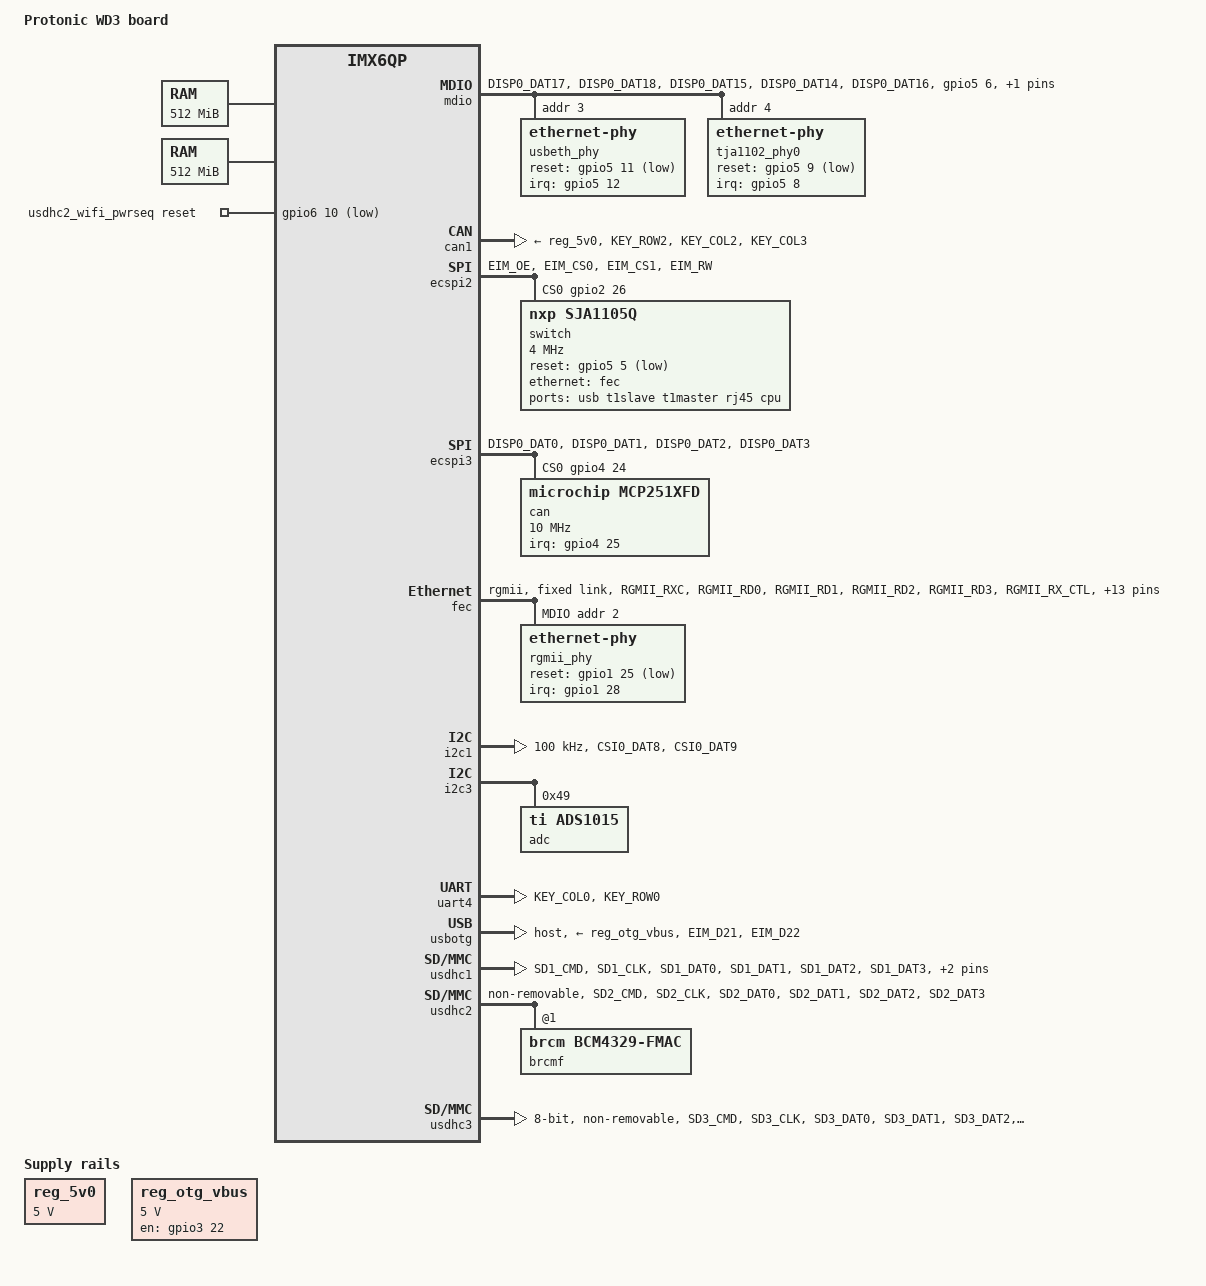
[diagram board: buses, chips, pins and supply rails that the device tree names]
// SPDX-License-Identifier: GPL-2.0-or-later OR MIT
/*
 * Copyright (c) 2018 Protonic Holland
 * Copyright (c) 2020 Oleksij Rempel <kernel@pengutronix.de>, Pengutronix
 */

/dts-v1/;
#include <dt-bindings/gpio/gpio.h>
#include "imx6qp.dtsi"

/ {
	model = "Protonic WD3 board";
	compatible = "prt,prtwd3", "fsl,imx6qp";

	chosen {
		stdout-path = &uart4;
	};

	memory@10000000 {
		device_type = "memory";
		reg = <0x10000000 0x20000000>;
	};

	memory@80000000 {
		device_type = "memory";
		reg = <0x80000000 0x20000000>;
	};

	clock_ksz8081: clock-ksz8081 {
		compatible = "fixed-clock";
		#clock-cells = <0>;
		clock-frequency = <50000000>;
	};

	clock_ksz9031: clock-ksz9031 {
		compatible = "fixed-clock";
		#clock-cells = <0>;
		clock-frequency = <25000000>;
	};

	clock_mcp251xfd: clock-mcp251xfd {
		compatible = "fixed-clock";
		#clock-cells = <0>;
		clock-frequency = <20000000>;
	};

	clock_sja1105: clock-sja1105 {
		compatible = "fixed-clock";
		#clock-cells = <0>;
		clock-frequency = <25000000>;
	};

	mdio {
		compatible = "virtual,mdio-gpio";
		pinctrl-names = "default";
		pinctrl-0 = <&pinctrl_mdio>;

		#address-cells = <1>;
		#size-cells = <0>;
		gpios = <&gpio5 6 GPIO_ACTIVE_HIGH
			 &gpio5 7 GPIO_ACTIVE_HIGH>;

		/* Microchip KSZ8081 */
		usbeth_phy: ethernet-phy@3 {
			reg = <0x3>;

			interrupts-extended = <&gpio5 12 IRQ_TYPE_LEVEL_LOW>;
			reset-gpios = <&gpio5 11 GPIO_ACTIVE_LOW>;
			reset-assert-us = <500>;
			reset-deassert-us = <1000>;
			clocks = <&clock_ksz8081>;
			clock-names = "rmii-ref";
			micrel,led-mode = <0>;
		};

		tja1102_phy0: ethernet-phy@4 {
			reg = <0x4>;

			interrupts-extended = <&gpio5 8 IRQ_TYPE_LEVEL_LOW>;
			reset-gpios = <&gpio5 9 GPIO_ACTIVE_LOW>;
			reset-assert-us = <20>;
			reset-deassert-us = <2000>;
			#address-cells = <1>;
			#size-cells = <0>;

			tja1102_phy1: ethernet-phy@5 {
				reg = <0x5>;

				interrupts-extended = <&gpio5 8 IRQ_TYPE_LEVEL_LOW>;
			};
		};
	};

	reg_5v0: regulator-5v0 {
		compatible = "regulator-fixed";
		regulator-name = "5v0";
		regulator-min-microvolt = <5000000>;
		regulator-max-microvolt = <5000000>;
	};

	reg_otg_vbus: regulator-otg-vbus {
		compatible = "regulator-fixed";
		regulator-name = "otg-vbus";
		regulator-min-microvolt = <5000000>;
		regulator-max-microvolt = <5000000>;
		gpio = <&gpio3 22 GPIO_ACTIVE_HIGH>;
		enable-active-high;
	};

	usdhc2_wifi_pwrseq: usdhc2-wifi-pwrseq {
		compatible = "mmc-pwrseq-simple";
		pinctrl-names = "default";
		pinctrl-0 = <&pinctrl_wifi_npd>;
		reset-gpios = <&gpio6 10 GPIO_ACTIVE_LOW>;
	};
};

&can1 {
	pinctrl-names = "default";
	pinctrl-0 = <&pinctrl_can1>;
	xceiver-supply = <&reg_5v0>;
	status = "okay";
};

&ecspi2 {
	cs-gpios = <&gpio2 26 GPIO_ACTIVE_HIGH>;
	pinctrl-names = "default";
	pinctrl-0 = <&pinctrl_ecspi2>;
	status = "okay";

	switch@0 {
		compatible = "nxp,sja1105q";
		reg = <0>;
		spi-max-frequency = <4000000>;
		spi-rx-delay-us = <1>;
		spi-tx-delay-us = <1>;
		spi-cpha;

		reset-gpios = <&gpio5 5 GPIO_ACTIVE_LOW>;

		clocks = <&clock_sja1105>;

		ports {
			#address-cells = <1>;
			#size-cells = <0>;

			port@0 {
				reg = <0>;
				label = "usb";
				phy-handle = <&usbeth_phy>;
				phy-mode = "rmii";
			};

			port@1 {
				reg = <1>;
				label = "t1slave";
				phy-handle = <&tja1102_phy1>;
				phy-mode = "rmii";
			};

			port@2 {
				reg = <2>;
				label = "t1master";
				phy-handle = <&tja1102_phy0>;
				phy-mode = "rmii";

			};

			port@3 {
				reg = <3>;
				label = "rj45";
				phy-handle = <&rgmii_phy>;
				phy-mode = "rgmii-id";
			};

			port@4 {
				reg = <4>;
				label = "cpu";
				ethernet = <&fec>;
				phy-mode = "rgmii-id";

				fixed-link {
					speed = <100>;
					full-duplex;
				};
			};
		};
	};
};

&ecspi3 {
	cs-gpios = <&gpio4 24 GPIO_ACTIVE_HIGH>;
	pinctrl-names = "default";
	pinctrl-0 = <&pinctrl_ecspi3>;
	status = "okay";

	can@0 {
		compatible = "microchip,mcp251xfd";
		pinctrl-names = "default";
		pinctrl-0 = <&pinctrl_can2>;
		reg = <0>;
		clocks = <&clock_mcp251xfd>;
		spi-max-frequency = <10000000>;
		interrupts-extended = <&gpio4 25 IRQ_TYPE_LEVEL_LOW>;
	};
};

&fec {
	pinctrl-names = "default";
	pinctrl-0 = <&pinctrl_enet>;
	status = "okay";

	phy-mode = "rgmii";

	fixed-link {
		speed = <100>;
		full-duplex;
	};

	mdio {
		#address-cells = <1>;
		#size-cells = <0>;

		/* Microchip KSZ9031 */
		rgmii_phy: ethernet-phy@2 {
			reg = <2>;

			interrupts-extended = <&gpio1 28 IRQ_TYPE_EDGE_FALLING>;
			reset-gpios = <&gpio1 25 GPIO_ACTIVE_LOW>;
			reset-assert-us = <10000>;
			reset-deassert-us = <1000>;

			clocks = <&clock_ksz9031>;
		};
	};
};

&gpio1 {
	gpio-line-names =
		"", "SD1_CD", "", "", "", "", "", "",
		"", "", "", "", "", "", "", "",
		"", "", "", "", "", "", "", "",
		"", "PHY3_RESET", "", "", "PHY3_INT", "", "", "";
};

&gpio2 {
	gpio-line-names =
		"", "", "", "", "", "", "", "",
		"REV_ID0", "REV_ID1", "REV_ID2", "REV_ID3", "BOARD_ID3",
			"BOARD_ID0", "BOARD_ID1", "BOARD_ID2",
		"", "", "", "", "", "", "", "",
		"", "", "ECSPI2_SS0", "", "", "", "", "";
};

&gpio3 {
	gpio-line-names =
		"", "", "", "", "", "", "", "",
		"", "", "", "", "", "", "", "",
		"", "", "", "", "", "USB_OTG_OC", "USB_OTG_PWR", "",
		"", "", "", "", "", "", "", "";
};

&gpio4 {
	gpio-line-names =
		"", "", "", "", "", "", "", "",
		"", "", "", "", "CAN1_SR", "CAN2_SR", "", "",
		"", "", "", "", "", "", "", "",
		"ECSPI3_SS0", "CANFD_INT", "USB_ETH_RESET", "", "", "", "", "";
};

&gpio5 {
	gpio-line-names =
		"", "", "", "", "", "SW_RESET", "", "",
		"PHY12_INT", "PHY12_RESET", "PHY12_EN", "PHY0_RESET",
			"PHY0_INT", "", "", "",
		"", "", "DISP1_EN", "DISP1_LR", "DISP1_TS_IRQ", "LVDS1_PD",
			"", "",
		"", "LVDS1_INT", "", "", "DISP0_LR", "DISP0_TS_IRQ",
			"DISP0_EN", "CAM_GPIO0";
};

&gpio6 {
	gpio-line-names =
		"LVDS0_INT", "LVDS0_PD", "CAM_INT", "CAM_GPIO1", "CAM_PD",
			"CAM_LOCK", "", "POWER_TG",
		"POWER_VSEL", "", "WLAN_REG_ON", "USB_ETH_CHG", "", "",
			"USB_ETH_CHG_ID0", "USB_ETH_CHG_ID1",
		"USB_ETH_CHG_ID2", "", "", "", "", "", "", "",
		"", "", "", "", "", "", "", "";
};

&i2c1 {
	clock-frequency = <100000>;
	pinctrl-names = "default";
	pinctrl-0 = <&pinctrl_i2c1>;
	status = "okay";

	/* additional i2c devices are added automatically by the boot loader */
};

&i2c3 {
	adc@49 {
		compatible = "ti,ads1015";
		reg = <0x49>;
		#address-cells = <1>;
		#size-cells = <0>;

		/* VIN */
		channel@4 {
			reg = <4>;
			ti,gain = <1>;
			ti,datarate = <3>;
		};

		/* VBUS */
		channel@5 {
			reg = <5>;
			ti,gain = <1>;
			ti,datarate = <3>;
		};

		/* ICHG */
		channel@6 {
			reg = <6>;
			ti,gain = <1>;
			ti,datarate = <3>;
		};

		channel@7 {
			reg = <7>;
			ti,gain = <1>;
			ti,datarate = <3>;
		};
	};
};

&uart4 {
	pinctrl-names = "default";
	pinctrl-0 = <&pinctrl_uart4>;
	status = "okay";
};

&usbotg {
	vbus-supply = <&reg_otg_vbus>;
	pinctrl-names = "default";
	pinctrl-0 = <&pinctrl_usbotg>;
	phy_type = "utmi";
	dr_mode = "host";
	disable-over-current;
	status = "okay";
};

&usbphynop1 {
	status = "disabled";
};

&usbphynop2 {
	status = "disabled";
};

&usdhc1 {
	pinctrl-names = "default";
	pinctrl-0 = <&pinctrl_usdhc1>;
	cd-gpios = <&gpio1 1 GPIO_ACTIVE_LOW>;
	no-1-8-v;
	disable-wp;
	cap-sd-highspeed;
	no-mmc;
	no-sdio;
	status = "okay";
};

&usdhc2 {
	pinctrl-names = "default";
	pinctrl-0 = <&pinctrl_usdhc2>;
	no-1-8-v;
	non-removable;
	mmc-pwrseq = <&usdhc2_wifi_pwrseq>;
	status = "okay";
	#address-cells = <1>;
	#size-cells = <0>;

	brcmf: bcrmf@1 {
		reg = <1>;
		compatible = "brcm,bcm4329-fmac";
	};
};

&usdhc3 {
	pinctrl-names = "default";
	pinctrl-0 = <&pinctrl_usdhc3>;
	bus-width = <8>;
	no-1-8-v;
	non-removable;
	no-sd;
	no-sdio;
	status = "okay";
};

&iomuxc {
	pinctrl_can1: can1grp {
		fsl,pins = <
			MX6QDL_PAD_KEY_ROW2__FLEXCAN1_RX		0x1b000
			MX6QDL_PAD_KEY_COL2__FLEXCAN1_TX		0x3008
			/* CAN1_SR */
			MX6QDL_PAD_KEY_COL3__GPIO4_IO12			0x13008
		>;
	};

	pinctrl_can2: can2grp {
		fsl,pins = <
			/* CAN2_nINT */
			MX6QDL_PAD_DISP0_DAT4__GPIO4_IO25		0x1b0b1
			/* CAN2_SR */
			MX6QDL_PAD_KEY_ROW3__GPIO4_IO13			0x13070
		>;
	};

	pinctrl_ecspi2: ecspi2grp {
		fsl,pins = <
			MX6QDL_PAD_EIM_OE__ECSPI2_MISO			0x100b1
			MX6QDL_PAD_EIM_CS0__ECSPI2_SCLK			0x100b1
			MX6QDL_PAD_EIM_CS1__ECSPI2_MOSI			0x100b1
			MX6QDL_PAD_EIM_RW__GPIO2_IO26			0x000b1
		>;
	};

	pinctrl_ecspi3: ecspi3grp {
		fsl,pins = <
			MX6QDL_PAD_DISP0_DAT0__ECSPI3_SCLK		0x100b1
			MX6QDL_PAD_DISP0_DAT1__ECSPI3_MOSI		0x100b1
			MX6QDL_PAD_DISP0_DAT2__ECSPI3_MISO		0x100b1
			/* CS */
			MX6QDL_PAD_DISP0_DAT3__GPIO4_IO24		0x000b1
		>;
	};

	pinctrl_enet: enetgrp {
		fsl,pins = <
			MX6QDL_PAD_RGMII_RXC__RGMII_RXC			0x1b030
			MX6QDL_PAD_RGMII_RD0__RGMII_RD0			0x1b030
			MX6QDL_PAD_RGMII_RD1__RGMII_RD1			0x1b030
			MX6QDL_PAD_RGMII_RD2__RGMII_RD2			0x1b030
			MX6QDL_PAD_RGMII_RD3__RGMII_RD3			0x1b030
			MX6QDL_PAD_RGMII_RX_CTL__RGMII_RX_CTL		0x1b030
			MX6QDL_PAD_RGMII_TXC__RGMII_TXC			0x10030
			MX6QDL_PAD_RGMII_TD0__RGMII_TD0			0x10030
			MX6QDL_PAD_RGMII_TD1__RGMII_TD1			0x10030
			MX6QDL_PAD_RGMII_TD2__RGMII_TD2			0x10030
			MX6QDL_PAD_RGMII_TD3__RGMII_TD3			0x10030
			MX6QDL_PAD_RGMII_TX_CTL__RGMII_TX_CTL		0x10030

			MX6QDL_PAD_ENET_MDIO__ENET_MDIO			0x10030
			MX6QDL_PAD_ENET_MDC__ENET_MDC			0x10030

			/* Configure clock provider for RGMII ref clock */
			MX6QDL_PAD_GPIO_16__ENET_REF_CLK		0x4001b0b0
			/* Configure clock consumer for RGMII ref clock */
			MX6QDL_PAD_ENET_REF_CLK__ENET_TX_CLK		0x10030

			/* SJA1105Q switch reset */
			MX6QDL_PAD_DISP0_DAT11__GPIO5_IO05		0x10030

			/* phy3/rgmii_phy reset */
			MX6QDL_PAD_ENET_CRS_DV__GPIO1_IO25		0x10030
			/* phy3/rgmii_phy int */
			MX6QDL_PAD_ENET_TX_EN__GPIO1_IO28		0x40010000
		>;
	};

	pinctrl_i2c1: i2c1grp {
		fsl,pins = <
			MX6QDL_PAD_CSI0_DAT8__I2C1_SDA			0x4001f8b1
			MX6QDL_PAD_CSI0_DAT9__I2C1_SCL			0x4001f8b1
		>;
	};

	pinctrl_mdio: mdiogrp {
		fsl,pins = <
			/* phy0/usbeth_phy reset */
			MX6QDL_PAD_DISP0_DAT17__GPIO5_IO11		0x10030
			/* phy0/usbeth_phy int */
			MX6QDL_PAD_DISP0_DAT18__GPIO5_IO12		0x100b1

			/* phy12/tja1102_phy0 reset */
			MX6QDL_PAD_DISP0_DAT15__GPIO5_IO09		0x10030
			/* phy12/tja1102_phy0 int */
			MX6QDL_PAD_DISP0_DAT14__GPIO5_IO08		0x100b1
			/* phy12/tja1102_phy0 enable. Set 100K pull-up */
			MX6QDL_PAD_DISP0_DAT16__GPIO5_IO10		0x1f030
		>;
	};

	pinctrl_uart4: uart4grp {
		fsl,pins = <
			MX6QDL_PAD_KEY_COL0__UART4_TX_DATA		0x1b0b1
			MX6QDL_PAD_KEY_ROW0__UART4_RX_DATA		0x1b0b1
		>;
	};

	pinctrl_usbotg: usbotggrp {
		fsl,pins = <
			MX6QDL_PAD_EIM_D21__USB_OTG_OC			0x1b0b0
			MX6QDL_PAD_EIM_D22__GPIO3_IO22			0x1b0b0
		>;
	};

	pinctrl_usdhc1: usdhc1grp {
		fsl,pins = <
			MX6QDL_PAD_SD1_CMD__SD1_CMD			0x170f9
			MX6QDL_PAD_SD1_CLK__SD1_CLK			0x100f9
			MX6QDL_PAD_SD1_DAT0__SD1_DATA0			0x170f9
			MX6QDL_PAD_SD1_DAT1__SD1_DATA1			0x170f9
			MX6QDL_PAD_SD1_DAT2__SD1_DATA2			0x170f9
			MX6QDL_PAD_SD1_DAT3__SD1_DATA3			0x170f9
			MX6QDL_PAD_GPIO_1__GPIO1_IO01			0x1b0b0
		>;
	};

	pinctrl_usdhc2: usdhc2grp {
		fsl,pins = <
			MX6QDL_PAD_SD2_CMD__SD2_CMD			0x170b9
			MX6QDL_PAD_SD2_CLK__SD2_CLK			0x100b9
			MX6QDL_PAD_SD2_DAT0__SD2_DATA0			0x170b9
			MX6QDL_PAD_SD2_DAT1__SD2_DATA1			0x170b9
			MX6QDL_PAD_SD2_DAT2__SD2_DATA2			0x170b9
			MX6QDL_PAD_SD2_DAT3__SD2_DATA3			0x170b9
		>;
	};

	pinctrl_usdhc3: usdhc3grp {
		fsl,pins = <
			MX6QDL_PAD_SD3_CMD__SD3_CMD			0x17099
			MX6QDL_PAD_SD3_CLK__SD3_CLK			0x10099
			MX6QDL_PAD_SD3_DAT0__SD3_DATA0			0x17099
			MX6QDL_PAD_SD3_DAT1__SD3_DATA1			0x17099
			MX6QDL_PAD_SD3_DAT2__SD3_DATA2			0x17099
			MX6QDL_PAD_SD3_DAT3__SD3_DATA3			0x17099
			MX6QDL_PAD_SD3_DAT4__SD3_DATA4			0x17099
			MX6QDL_PAD_SD3_DAT5__SD3_DATA5			0x17099
			MX6QDL_PAD_SD3_DAT6__SD3_DATA6			0x17099
			MX6QDL_PAD_SD3_DAT7__SD3_DATA7			0x17099
			MX6QDL_PAD_SD3_RST__SD3_RESET			0x1b0b1
		>;
	};

	pinctrl_wifi_npd: wifinpd {
		fsl,pins = <
			/* WL_REG_ON */
			MX6QDL_PAD_NANDF_RB0__GPIO6_IO10		0x13069
		>;
	};
};
